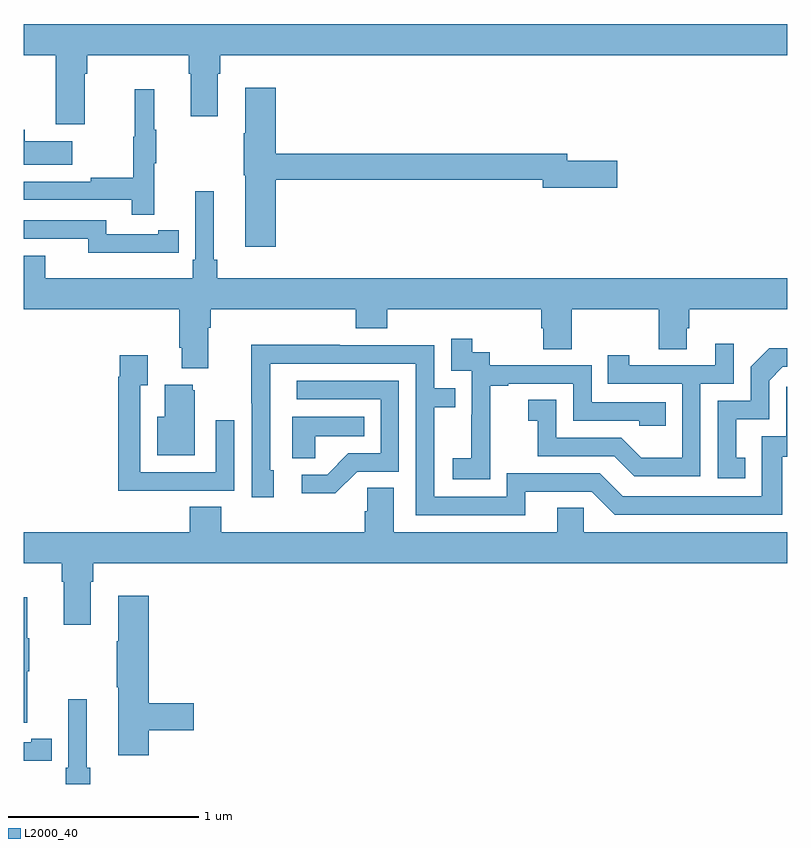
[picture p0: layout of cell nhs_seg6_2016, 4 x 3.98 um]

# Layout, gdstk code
import gdstk
lib = gdstk.Library(unit=1e-6, precision=1e-09)
def P(c, l, *ps):  # polygons
    for p in ps: c.add(gdstk.Polygon(p, *l))
L2000_40 = (2000, 40)

nhs_seg6_2016 = lib.new_cell('nhs_seg6_2016')
P(nhs_seg6_2016, L2000_40, [(231.319,963.224),(231.332,963.224),(231.332,963.32),(231.863,963.32),(231.863,963.224),(231.875,963.224),(231.875,963),(232.015,963),(232.015,963.224),(232.028,963.224),(232.028,963.32),(235,963.32),(235,963.484),(231,963.484),(231,963.32),(231.167,963.32),(231.167,962.958),(231.319,962.958)],
  [(232.319,962.668),(233.72,962.668),(233.72,962.626),(234.109,962.626),(234.109,962.768),(233.848,962.768),(233.848,962.804),(232.319,962.804),(232.319,963.151),(232.16,963.151),(232.16,962.912),(232.153,962.912),(232.153,962.691),(232.16,962.691),(232.16,962.316),(232.319,962.316)],
  [(231.683,962.755),(231.694,962.755),(231.694,962.929),(231.683,962.929),(231.683,963.142),(231.58,963.142),(231.58,962.892),(231.573,962.892),(231.573,962.678),(231.349,962.678),(231.349,962.658),(231,962.658),(231,962.562),(231.565,962.562),(231.565,962.484),(231.683,962.484)],
  [(231.253,962.869),(231.005,962.869),(231.005,962.929),(231,962.929),(231,962.747),(231.253,962.747)],
  [(231.967,961.892),(231.98,961.892),(231.98,961.988),(232.739,961.988),(232.739,961.889),(232.904,961.889),(232.904,961.988),(233.711,961.988),(233.711,961.89),(233.723,961.89),(233.723,961.78),(233.871,961.78),(233.871,961.988),(234.328,961.988),(234.328,961.78),(234.475,961.78),(234.475,961.89),(234.488,961.89),(234.488,961.988),(235,961.988),(235,962.152),(232.013,962.152),(232.013,962.248),(231.994,962.248),(231.994,962.608),(231.897,962.608),(231.897,962.248),(231.884,962.248),(231.884,962.152),(231.112,962.152),(231.112,962.269),(231,962.269),(231,961.988),(231.815,961.988),(231.815,961.786),(231.827,961.786),(231.827,961.679),(231.967,961.679)],
  [(231.704,962.286),(231.812,962.286),(231.812,962.402),(231.704,962.402),(231.704,962.382),(231.432,962.382),(231.432,962.454),(231,962.454),(231,962.358),(231.336,962.358),(231.336,962.285),(231.704,962.285)],
  [(233.445,961.303),(233.444,961.303),(233.444,961.587),(233.539,961.587),(233.539,961.599),(233.88,961.599),(233.88,961.404),(234.225,961.404),(234.225,961.377),(234.365,961.377),(234.365,961.5),(233.976,961.5),(233.976,961.695),(233.442,961.695),(233.442,961.764),(233.35,961.764),(233.35,961.834),(233.241,961.834),(233.241,961.665),(233.346,961.665),(233.346,961.436),(233.345,961.436),(233.345,961.207),(233.247,961.207),(233.247,961.097),(233.445,961.097)],
  [(234.546,961.599),(234.72,961.599),(234.72,961.807),(234.623,961.807),(234.623,961.695),(234.172,961.695),(234.172,961.747),(234.061,961.747),(234.061,961.599),(234.45,961.599),(234.45,961.21),(234.236,961.21),(234.132,961.314),(233.79,961.314),(233.79,961.513),(233.643,961.513),(233.643,961.403),(233.692,961.403),(233.692,961.218),(234.095,961.218),(234.2,961.113),(234.546,961.113)],
  [(233.629,961.032),(233.976,961.032),(234.096,960.912),(234.976,960.912),(234.976,961.215),(235,961.215),(235,961.582),(234.996,961.582),(234.996,961.323),(234.867,961.323),(234.867,961.008),(234.138,961.008),(234.018,961.128),(233.532,961.128),(233.532,961.005),(233.151,961.005),(233.151,961.474),(233.261,961.474),(233.261,961.575),(233.151,961.575),(233.151,961.8),(232.655,961.8),(232.655,961.802),(232.192,961.802),(232.192,961.495),(232.194,961.495),(232.194,961.002),(232.309,961.002),(232.309,961.146),(232.29,961.146),(232.29,961.704),(233.055,961.704),(233.055,960.909),(233.629,960.909)],
  [(234.782,961.209),(234.733,961.209),(234.733,961.413),(234.906,961.413),(234.906,961.614),(234.978,961.686),(235,961.686),(235,961.784),(234.908,961.784),(234.81,961.686),(234.81,961.509),(234.636,961.509),(234.636,961.104),(234.782,961.104)],
  [(231.785,961.038),(232.101,961.038),(232.101,961.408),(232.005,961.408),(232.005,961.134),(231.609,961.134),(231.609,961.591),(231.649,961.591),(231.649,961.747),(231.501,961.747),(231.501,961.634),(231.493,961.634),(231.493,961.037),(231.785,961.037)],
  [(232.746,961.137),(232.965,961.137),(232.965,961.614),(232.431,961.614),(232.431,961.518),(232.869,961.518),(232.869,961.233),(232.7,961.233),(232.589,961.122),(232.455,961.122),(232.455,961.025),(232.633,961.025)],
  [(231.895,961.563),(231.884,961.563),(231.884,961.594),(231.737,961.594),(231.737,961.426),(231.698,961.426),(231.698,961.223),(231.895,961.223)],
  [(232.527,961.322),(232.784,961.322),(232.784,961.426),(232.406,961.426),(232.406,961.207),(232.527,961.207)],
  [(231.349,960.56),(231.362,960.56),(231.362,960.656),(235,960.656),(235,960.82),(233.934,960.82),(233.934,960.947),(233.795,960.947),(233.795,960.82),(232.939,960.82),(232.939,961.052),(232.8,961.052),(232.8,960.929),(232.787,960.929),(232.787,960.82),(232.034,960.82),(232.034,960.953),(231.869,960.953),(231.869,960.82),(231,960.82),(231,960.656),(231.197,960.656),(231.197,960.56),(231.209,960.56),(231.209,960.336),(231.349,960.336)],
  [(231.653,959.782),(231.889,959.782),(231.889,959.924),(231.653,959.924),(231.653,960.487),(231.494,960.487),(231.494,960.248),(231.487,960.248),(231.487,960.007),(231.494,960.007),(231.494,959.652),(231.653,959.652)],
  [(231.017,960.091),(231.028,960.091),(231.028,960.265),(231.017,960.265),(231.017,960.478),(231,960.478),(231,959.82),(231.017,959.82)],
  [(231.347,959.584),(231.328,959.584),(231.328,959.944),(231.231,959.944),(231.231,959.584),(231.218,959.584),(231.218,959.5),(231.347,959.5)],
  [(231.038,959.622),(231.146,959.622),(231.146,959.738),(231.038,959.738),(231.038,959.718),(231,959.718),(231,959.621),(231.038,959.621)])

lib.write_gds('nhs_seg6_2016.gds')
